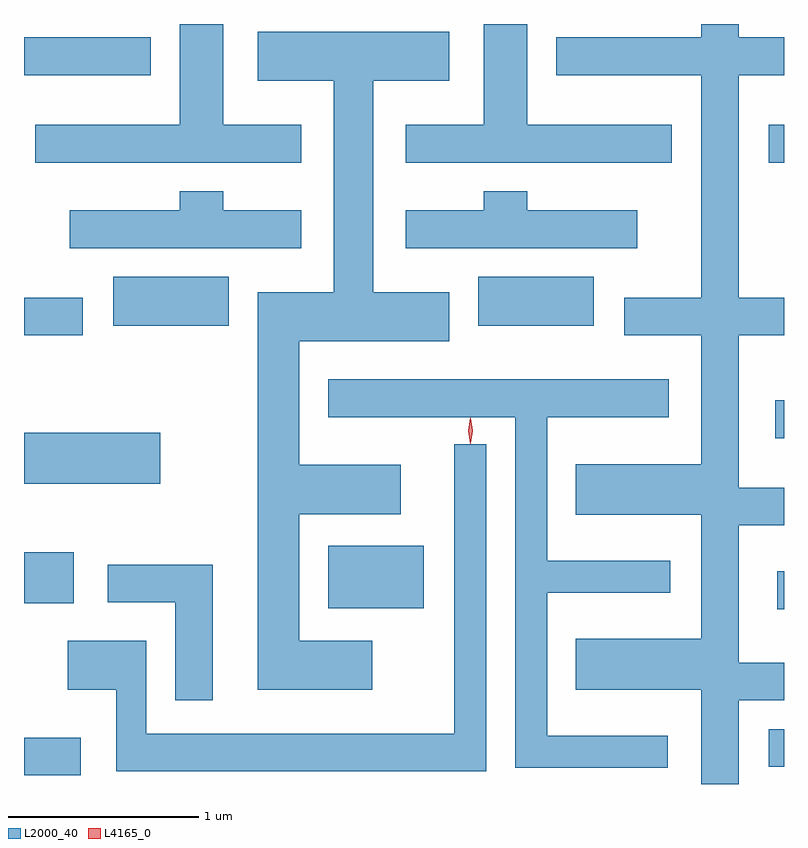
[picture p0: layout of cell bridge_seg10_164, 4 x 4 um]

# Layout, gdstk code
import gdstk
lib = gdstk.Library(unit=1e-6, precision=1e-09)
def R(c, l, rs):  # rectangles x0, y0, x1, y1
    for r in rs: c.add(gdstk.rectangle(r[:2], r[2:], *l))
def P(c, l, *ps):  # polygons
    for p in ps: c.add(gdstk.Polygon(p, *l))
L2000_40 = (2000, 40)
L4165_0 = (4165, 0)

bridge_seg10_164 = lib.new_cell('bridge_seg10_164')
R(bridge_seg10_164, L2000_40, [(1831.126,2140.431,1831.424,2140.629), (1835.046,2140.476,1835.126,2140.674), (1835.091,2141.306,1835.126,2141.504), (1832.726,2141.311,1833.229,2141.639), (1831.126,2141.336,1831.389,2141.604), (1831.126,2141.966,1831.844,2142.234), (1835.081,2142.206,1835.126,2142.404), (1831.126,2142.746,1831.434,2142.944), (1831.596,2142.796,1832.204,2143.054), (1833.516,2142.796,1834.124,2143.054), (1835.046,2143.656,1835.126,2143.854), (1831.126,2144.116,1831.794,2144.314)])
P(bridge_seg10_164, L2000_40, [(1834.534,2143.854),(1833.774,2143.854),(1833.774,2144.385),(1833.546,2144.385),(1833.546,2143.854),(1833.136,2143.854),(1833.136,2143.656),(1834.534,2143.656)],
  [(1832.584,2143.854),(1832.174,2143.854),(1832.174,2144.385),(1831.946,2144.385),(1831.946,2143.854),(1831.186,2143.854),(1831.186,2143.656),(1832.584,2143.656)],
  [(1834.031,2142.069),(1834.031,2141.801),(1834.691,2141.801),(1834.691,2141.149),(1834.031,2141.149),(1834.031,2140.881),(1834.691,2140.881),(1834.691,2140.385),(1834.889,2140.385),(1834.889,2140.826),(1835.126,2140.826),(1835.126,2141.024),(1834.889,2141.024),(1834.889,2141.746),(1835.126,2141.746),(1835.126,2141.944),(1834.889,2141.944),(1834.889,2142.746),(1835.126,2142.746),(1835.126,2142.944),(1834.889,2142.944),(1834.889,2144.116),(1835.126,2144.116),(1835.126,2144.314),(1834.889,2144.314),(1834.889,2144.385),(1834.691,2144.385),(1834.691,2144.314),(1833.926,2144.314),(1833.926,2144.116),(1834.691,2144.116),(1834.691,2142.944),(1834.286,2142.944),(1834.286,2142.746),(1834.691,2142.746),(1834.691,2142.069)],
  [(1832.959,2141.139),(1832.574,2141.139),(1832.574,2141.806),(1833.109,2141.806),(1833.109,2142.064),(1832.574,2142.064),(1832.574,2142.716),(1833.364,2142.716),(1833.364,2142.974),(1832.964,2142.974),(1832.964,2144.086),(1833.364,2144.086),(1833.364,2144.344),(1832.356,2144.344),(1832.356,2144.086),(1832.756,2144.086),(1832.756,2142.974),(1832.356,2142.974),(1832.356,2140.881),(1832.959,2140.881)],
  [(1834.354,2143.404),(1833.774,2143.404),(1833.774,2143.504),(1833.546,2143.504),(1833.546,2143.404),(1833.136,2143.404),(1833.136,2143.206),(1834.354,2143.206)],
  [(1832.584,2143.404),(1832.174,2143.404),(1832.174,2143.504),(1831.946,2143.504),(1831.946,2143.404),(1831.366,2143.404),(1831.366,2143.206),(1832.584,2143.206)],
  [(1834.513,2140.639),(1833.879,2140.639),(1833.879,2141.391),(1834.528,2141.391),(1834.528,2141.559),(1833.879,2141.559),(1833.879,2142.316),(1834.519,2142.316),(1834.519,2142.514),(1832.726,2142.514),(1832.726,2142.316),(1833.711,2142.316),(1833.711,2140.471),(1834.513,2140.471)],
  [(1833.559,2142.173),(1833.391,2142.173),(1833.391,2140.649),(1831.769,2140.649),(1831.769,2141.139),(1831.356,2141.139),(1831.356,2140.881),(1831.611,2140.881),(1831.611,2140.451),(1833.559,2140.451)],
  [(1832.119,2141.539),(1831.566,2141.539),(1831.566,2141.341),(1831.921,2141.341),(1831.921,2140.826),(1832.119,2140.826)])
P(bridge_seg10_164, L4165_0, [(1833.475,2142.174),(1833.474,2142.175),(1833.465,2142.244),(1833.474,2142.313),(1833.475,2142.314),(1833.475,2142.313),(1833.485,2142.244),(1833.475,2142.175)],
  [(1833.476,2142.178),(1833.467,2142.244),(1833.477,2142.31),(1833.477,2142.311),(1833.478,2142.31),(1833.487,2142.244),(1833.477,2142.178),(1833.477,2142.178)])

lib.write_gds('bridge_seg10_164.gds')
